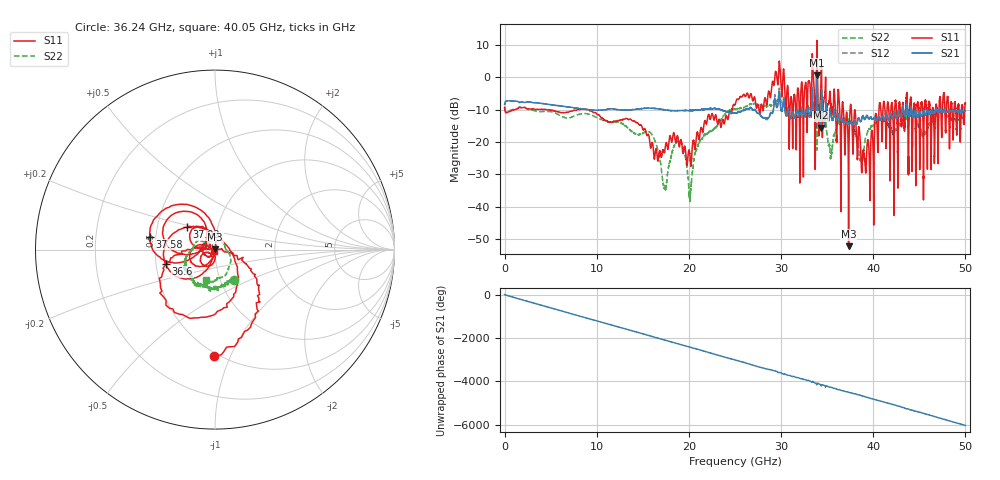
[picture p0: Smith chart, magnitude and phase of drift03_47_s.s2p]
!Created with skrf (http://scikit-rf.org).
# Hz S RI R 50.0
!freq ReS11 ImS11 ReS21 ImS21 ReS12 ImS12 ReS22 ImS22
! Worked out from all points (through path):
!   10001 points, 300 kHz to 50 GHz, reference 50 ohm
!   highest |S21| = 0.59 dB at 33.9 GHz (marker M1); lowest = -15.6 dB at 34.32 GHz (marker M2)
!   group delay of S21, straight-line fit = 335 ps
!   lowest |S11| = -52.1 dB at 37.33 GHz (marker M3), VSWR 1.00, Z = 50.1 + j0.234 ohm
!   |S11| at or under -10 dB: 4.471 GHz to 7.933 GHz (3.462 GHz wide, 55.8 % of centre); 9.032 GHz to 24.7 GHz (15.66 GHz wide, 92.9 % of centre); 37.62 GHz to 40.62 GHz (3 GHz wide, 7.67 % of centre) (the widest 3 of 58)
!   |S22| runs from -38.3 to -5.9 dB; largest |S21 - S12| = 0.11
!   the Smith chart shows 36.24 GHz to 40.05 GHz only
!   S11 on the Smith chart (normalised r, x): 36.24 GHz: 0.48, -0.87; 36.6 GHz: 0.57, -0.10; 37.03 GHz: 0.71, +0.18; 37.58 GHz: 0.46, +0.08; 40.05 GHz: 0.99, -0.02
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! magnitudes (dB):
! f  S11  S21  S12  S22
! 300 kHz  -9.3  -8.4  -8.4  -9.2
! 8.335 GHz  -9.9  -9.8  -9.8  -11.3
! 16.67 GHz  -25.4  -9.8  -9.8  -23.2
! 17.39 GHz  -22.6  -10.1  -10.1  -34.5
! 19.08 GHz  -19.7  -10.3  -10.3  -20.1
! 20.12 GHz  -24.3  -10.3  -10.3  -36.6
! 21.19 GHz  -17.9  -10.1  -10.1  -19.6
! 25 GHz  -8.5  -11.1  -11.1  -9.9
! 31.08 GHz  -6.1  -12.7  -12.7  -10.5
! 33.34 GHz  0.2  -7.5  -7.7  -9.3
! 33.9 GHz  11.3  0.6  0.2  -22.5
! 34.32 GHz  -2.9  -15.6  -14.9  -11.2
! 35.35 GHz  -6.6  -10.6  -10.1  -24.1
! 36.24 GHz  -4.5  -11.7  -11.7  -14.0
! 36.6 GHz  -10.9  -13.0  -13.1  -13.5
! 37.03 GHz  -14.0  -13.8  -13.9  -13.7
! 37.33 GHz  -52.1  -14.3  -14.5  -13.6
! 37.58 GHz  -8.6  -13.9  -13.8  -14.2
! 38.71 GHz  -27.1  -13.4  -13.3  -25.3
! 40.05 GHz  -40.0  -12.8  -12.8  -15.1
! 41.67 GHz  -9.5  -13.3  -13.2  -14.9
! 50 GHz  -8.1  -10.5  -10.6  -12.1
